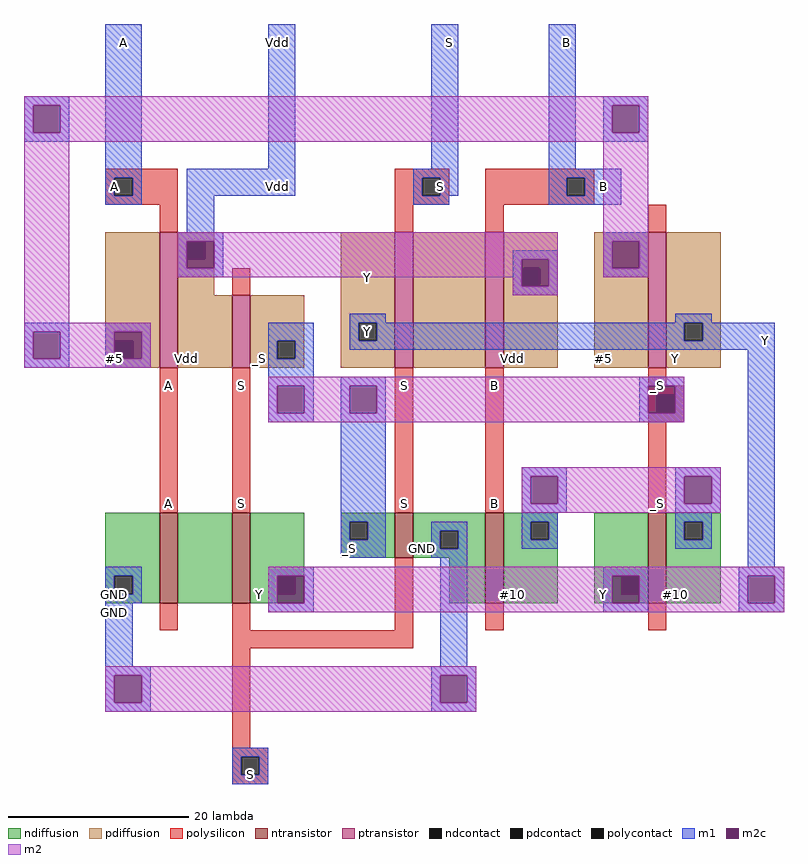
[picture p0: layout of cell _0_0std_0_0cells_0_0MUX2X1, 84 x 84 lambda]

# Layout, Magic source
magic
tech TSMC180
<< ndiffusion >>
rect 6 15 12 22
rect 6 13 7 15
rect 9 13 12 15
rect 6 12 12 13
rect 14 12 20 22
rect 22 15 28 22
rect 32 21 38 22
rect 32 19 33 21
rect 35 19 38 21
rect 32 17 38 19
rect 40 20 48 22
rect 40 18 43 20
rect 45 18 48 20
rect 40 17 48 18
rect 22 13 25 15
rect 27 13 28 15
rect 22 12 28 13
rect 44 12 48 17
rect 50 21 56 22
rect 50 19 53 21
rect 55 19 56 21
rect 50 12 56 19
rect 60 15 66 22
rect 60 13 63 15
rect 65 13 66 15
rect 60 12 66 13
rect 68 21 74 22
rect 68 19 70 21
rect 72 19 74 21
rect 68 12 74 19
<< ndcontact >>
rect 7 13 9 15
rect 33 19 35 21
rect 43 18 45 20
rect 25 13 27 15
rect 53 19 55 21
rect 63 13 65 15
rect 70 19 72 21
<< ntransistor >>
rect 12 12 14 22
rect 20 12 22 22
rect 38 17 40 22
rect 48 12 50 22
rect 66 12 68 22
<< pdiffusion >>
rect 6 41 12 53
rect 6 39 7 41
rect 9 39 12 41
rect 6 38 12 39
rect 14 52 18 53
rect 14 50 15 52
rect 17 50 18 52
rect 14 46 18 50
rect 14 38 20 46
rect 22 41 28 46
rect 22 39 25 41
rect 27 39 28 41
rect 22 38 28 39
rect 32 43 38 53
rect 32 41 34 43
rect 36 41 38 43
rect 32 38 38 41
rect 40 38 48 53
rect 50 49 56 53
rect 50 47 52 49
rect 54 47 56 49
rect 50 38 56 47
rect 60 38 66 53
rect 68 43 74 53
rect 68 41 70 43
rect 72 41 74 43
rect 68 38 74 41
<< pdcontact >>
rect 7 39 9 41
rect 15 50 17 52
rect 25 39 27 41
rect 34 41 36 43
rect 52 47 54 49
rect 70 41 72 43
<< ptransistor >>
rect 12 38 14 53
rect 20 38 22 46
rect 38 38 40 53
rect 48 38 50 53
rect 66 38 68 53
<< polysilicon >>
rect 6 59 14 60
rect 6 57 7 59
rect 9 57 14 59
rect 6 56 14 57
rect 12 53 14 56
rect 38 59 44 60
rect 38 57 41 59
rect 43 57 44 59
rect 38 56 44 57
rect 48 59 60 60
rect 48 57 57 59
rect 59 57 60 59
rect 48 56 60 57
rect 38 53 40 56
rect 48 53 50 56
rect 66 53 68 56
rect 20 46 22 49
rect 12 22 14 38
rect 20 22 22 38
rect 38 22 40 38
rect 48 22 50 38
rect 66 36 68 38
rect 66 35 70 36
rect 66 33 67 35
rect 69 33 70 35
rect 66 32 70 33
rect 66 22 68 32
rect 12 9 14 12
rect 20 9 22 12
rect 38 9 40 17
rect 48 9 50 12
rect 66 9 68 12
rect 20 7 40 9
rect 20 -4 22 7
rect 20 -5 24 -4
rect 20 -7 21 -5
rect 23 -7 24 -5
rect 20 -8 24 -7
<< polycontact >>
rect 7 57 9 59
rect 41 57 43 59
rect 57 57 59 59
rect 67 33 69 35
rect 21 -7 23 -5
<< m1 >>
rect -3 67 2 68
rect -3 64 -2 67
rect 1 64 2 67
rect -3 63 2 64
rect 6 59 10 76
rect 24 60 27 76
rect 42 60 45 76
rect 6 57 7 59
rect 9 57 10 59
rect 6 56 10 57
rect 15 57 27 60
rect 40 59 45 60
rect 40 57 41 59
rect 43 57 45 59
rect 55 60 58 76
rect 61 67 66 68
rect 61 64 62 67
rect 65 64 66 67
rect 61 63 66 64
rect 55 59 63 60
rect 55 57 57 59
rect 59 57 63 59
rect 15 53 18 57
rect 40 56 44 57
rect 55 56 63 57
rect 14 52 19 53
rect 14 49 15 52
rect 18 49 19 52
rect 61 52 66 53
rect 14 48 19 49
rect 51 50 56 51
rect 51 47 52 50
rect 55 47 56 50
rect 61 49 62 52
rect 65 49 66 52
rect 61 48 66 49
rect 51 46 56 47
rect 33 43 37 44
rect 69 43 73 44
rect -3 42 2 43
rect -3 39 -2 42
rect 1 39 2 42
rect -3 38 2 39
rect 6 42 11 43
rect 6 39 7 42
rect 10 39 11 42
rect 6 38 11 39
rect 24 41 29 43
rect 24 39 25 41
rect 27 39 29 41
rect 33 41 34 43
rect 36 41 70 43
rect 72 41 80 43
rect 33 40 80 41
rect 24 36 29 39
rect 24 33 25 36
rect 28 33 29 36
rect 24 32 29 33
rect 32 36 37 37
rect 32 33 33 36
rect 36 33 37 36
rect 32 21 37 33
rect 65 36 70 37
rect 65 33 66 36
rect 69 33 70 36
rect 65 32 70 33
rect 52 26 57 27
rect 52 23 53 26
rect 56 23 57 26
rect 52 22 57 23
rect 69 26 74 27
rect 69 23 70 26
rect 73 23 74 26
rect 69 22 74 23
rect 52 21 56 22
rect 32 19 33 21
rect 35 19 37 21
rect 32 17 37 19
rect 42 20 46 21
rect 42 18 43 20
rect 45 18 46 20
rect 52 19 53 21
rect 55 19 56 21
rect 52 18 56 19
rect 69 21 73 22
rect 69 19 70 21
rect 72 19 73 21
rect 69 18 73 19
rect 42 17 46 18
rect 6 15 10 16
rect 6 13 7 15
rect 9 13 10 15
rect 6 12 10 13
rect 24 15 29 16
rect 24 12 25 15
rect 28 12 29 15
rect 6 5 9 12
rect 24 11 29 12
rect 43 5 46 17
rect 77 16 80 40
rect 61 15 66 16
rect 61 12 62 15
rect 65 12 66 15
rect 61 11 66 12
rect 76 15 81 16
rect 76 12 77 15
rect 80 12 81 15
rect 76 11 81 12
rect 6 4 11 5
rect 6 1 7 4
rect 10 1 11 4
rect 6 0 11 1
rect 42 4 47 5
rect 42 1 43 4
rect 46 1 47 4
rect 42 0 47 1
rect 20 -5 24 -4
rect 20 -7 21 -5
rect 23 -7 24 -5
rect 20 -8 24 -7
<< m2c >>
rect -2 64 1 67
rect 62 64 65 67
rect 15 50 17 52
rect 17 50 18 52
rect 15 49 18 50
rect 52 49 55 50
rect 52 47 54 49
rect 54 47 55 49
rect 62 49 65 52
rect -2 39 1 42
rect 7 41 10 42
rect 7 39 9 41
rect 9 39 10 41
rect 25 33 28 36
rect 33 33 36 36
rect 66 35 69 36
rect 66 33 67 35
rect 67 33 69 35
rect 53 23 56 26
rect 70 23 73 26
rect 25 13 27 15
rect 27 13 28 15
rect 25 12 28 13
rect 62 13 63 15
rect 63 13 65 15
rect 62 12 65 13
rect 77 12 80 15
rect 7 1 10 4
rect 43 1 46 4
<< m2 >>
rect -3 67 66 68
rect -3 64 -2 67
rect 1 64 62 67
rect 65 64 66 67
rect -3 63 66 64
rect -3 43 2 63
rect 14 52 56 53
rect 14 49 15 52
rect 18 50 56 52
rect 18 49 52 50
rect 14 48 52 49
rect 51 47 52 48
rect 55 47 56 50
rect 61 52 66 63
rect 61 49 62 52
rect 65 49 66 52
rect 61 48 66 49
rect 51 46 56 47
rect -3 42 11 43
rect -3 39 -2 42
rect 1 39 7 42
rect 10 39 11 42
rect -3 38 11 39
rect 24 36 70 37
rect 24 33 25 36
rect 28 33 33 36
rect 36 33 66 36
rect 69 33 70 36
rect 24 32 70 33
rect 52 26 74 27
rect 52 23 53 26
rect 56 23 70 26
rect 73 23 74 26
rect 52 22 74 23
rect 24 15 81 16
rect 24 12 25 15
rect 28 12 62 15
rect 65 12 77 15
rect 80 12 81 15
rect 24 11 81 12
rect 6 4 47 5
rect 6 1 7 4
rect 10 1 43 4
rect 46 1 47 4
rect 6 0 47 1
<< labels >>
rlabel pdiffusion 23 39 23 39 3 _S
rlabel ndiffusion 23 13 23 13 3 Y
rlabel polysilicon 21 23 21 23 3 S
rlabel polysilicon 21 36 21 36 3 S
rlabel pdiffusion 15 39 15 39 3 Vdd
rlabel polysilicon 13 23 13 23 3 A
rlabel polysilicon 13 36 13 36 3 A
rlabel ndiffusion 7 13 7 13 3 GND
rlabel pdiffusion 7 39 7 39 3 #5
rlabel ndiffusion 51 13 51 13 3 #10
rlabel polysilicon 49 23 49 23 3 B
rlabel polysilicon 49 36 49 36 3 B
rlabel pdiffusion 51 39 51 39 3 Vdd
rlabel ndiffusion 41 18 41 18 3 GND
rlabel polysilicon 39 23 39 23 3 S
rlabel polysilicon 39 36 39 36 3 S
rlabel ndiffusion 33 18 33 18 3 _S
rlabel ndiffusion 69 13 69 13 3 #10
rlabel pdiffusion 69 39 69 39 3 Y
rlabel polysilicon 67 23 67 23 3 _S
rlabel polysilicon 67 36 67 36 3 _S
rlabel ndiffusion 61 13 61 13 3 Y
rlabel pdiffusion 61 39 61 39 3 #5
rlabel m1 43 58 43 58 3 S
port 3 e
rlabel m1 7 58 7 58 3 A
port 6 e
rlabel m1 7 11 7 11 2 GND
rlabel pdiffusion 35 48 35 48 1 Y
rlabel m1 61 58 61 58 5 B
rlabel m1 25 58 25 58 5 Vdd
rlabel m1 22 -7 22 -7 1 S
rlabel pdcontact 35 42 35 42 1 Y
rlabel m1 8 74 8 74 5 A
rlabel m1 25 74 25 74 5 Vdd
rlabel m1 44 74 44 74 5 S
rlabel m1 57 74 57 74 5 B
rlabel m1 79 41 79 41 7 Y
<< end >>
